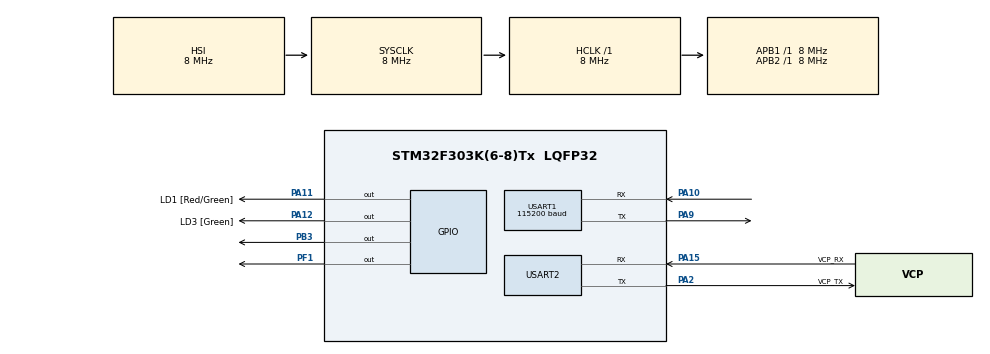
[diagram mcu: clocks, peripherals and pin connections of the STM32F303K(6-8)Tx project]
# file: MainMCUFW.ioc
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Dma.Request0=USART1_RX
Dma.USART1_RX.0.Direction=DMA_PERIPH_TO_MEMORY
Dma.USART1_RX.0.Instance=DMA1_Channel5
Dma.USART1_RX.0.MemDataAlignment=DMA_MDATAALIGN_BYTE
Dma.USART1_RX.0.MemInc=DMA_MINC_ENABLE
Dma.USART1_RX.0.Mode=DMA_CIRCULAR
Dma.USART1_RX.0.PeriphDataAlignment=DMA_PDATAALIGN_BYTE
Dma.USART1_RX.0.PeriphInc=DMA_PINC_DISABLE
Dma.USART1_RX.0.Priority=DMA_PRIORITY_LOW
FREERTOS.Tasks01=defaultTask,0,128,StartDefaultTask,Default,NULL,Dynamic,NULL,NULL
FREERTOS.configTOTAL_HEAP_SIZE=8000
Mcu.Family=STM32F3
Mcu.Name=STM32F303K(6-8)Tx
Mcu.Package=LQFP32
NVIC.DMA1_Channel5_IRQn=true\:5\:0\:false\:false\:true\:true\:false
NVIC.PriorityGroup=NVIC_PRIORITYGROUP_4
NVIC.TIM6_DAC1_IRQn=true\:0\:0\:false\:false\:true\:false\:false
NVIC.TimeBase=TIM6_DAC1_IRQn
NVIC.TimeBaseIP=TIM6
NVIC.USART1_IRQn=true\:5\:0\:false\:false\:true\:true\:true
PA10.Mode=Asynchronous
PA10.Signal=USART1_RX
PA11.GPIO_Label=LD1 [Red/Green]
PA11.Signal=GPIO_Output
PA12.GPIO_Label=LD3 [Green]
PA12.Signal=GPIO_Output
PA13.GPIO_Label=SWDIO
PA13.Mode=Serial_Wire
PA13.Signal=SYS_JTMS-SWDIO
PA14.GPIO_Label=SWCLK
PA14.Mode=Serial_Wire
PA14.Signal=SYS_JTCK-SWCLK
PA15.GPIO_Label=VCP_RX
PA15.Mode=Asynchronous
PA15.Signal=USART2_RX
PA2.GPIO_Label=VCP_TX
PA2.Mode=Asynchronous
PA2.Signal=USART2_TX
PA9.Mode=Asynchronous
PA9.Signal=USART1_TX
PB3.Signal=GPIO_Output
PF0\ /\ OSC_IN.GPIO_Label=MCO
PF0\ /\ OSC_IN.Mode=HSE-External-Clock-Source
PF0\ /\ OSC_IN.Signal=RCC_OSC_IN
PF1\ /\ OSC_OUT.Signal=GPIO_Output
ProjectManager.HeapSize=0x0200
ProjectManager.StackSize=0x0400
ProjectManager.TargetToolchain=Makefile
RCC.AHBFreq_Value=8000000
RCC.APB1Freq_Value=8000000
RCC.APB2Freq_Value=8000000
RCC.CortexFreq_Value=8000000
RCC.HSE_VALUE=8000000
RCC.HSI_VALUE=8000000
RCC.SYSCLKFreq_VALUE=8000000
USART1.BaudRate=115200
USART1.VirtualMode-Asynchronous=VM_ASYNC
USART2.VirtualMode-Asynchronous=VM_ASYNC
VP_FREERTOS_VS_ENABLE.Mode=Enabled
VP_SYS_VS_tim6.Mode=TIM6
board=NUCLEO-F303K8

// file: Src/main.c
/**
  ******************************************************************************
  * @file           : main.c
  * @brief          : Main program body
  ******************************************************************************
  * This notice applies to any and all portions of this file
  * that are not between comment pairs USER CODE BEGIN and
  * USER CODE END. Other portions of this file, whether
  * inserted by the user or by software development tools
  * are owned by their respective copyright owners.
  *
  * Copyright (c) 2019 STMicroelectronics International N.V.
  * All rights reserved.
  *
  * Redistribution and use in source and binary forms, with or without
  * modification, are permitted, provided that the following conditions are met:
  *
  * 1. Redistribution of source code must retain the above copyright notice,
  *    this list of conditions and the following disclaimer.
  * 2. Redistributions in binary form must reproduce the above copyright notice,
  *    this list of conditions and the following disclaimer in the documentation
  *    and/or other materials provided with the distribution.
  * 3. Neither the name of STMicroelectronics nor the names of other
  *    contributors to this software may be used to endorse or promote products
  *    derived from this software without specific written permission.
  * 4. This software, including modifications and/or derivative works of this
  *    software, must execute solely and exclusively on microcontroller or
  *    microprocessor devices manufactured by or for STMicroelectronics.
  * 5. Redistribution and use of this software other than as permitted under
  *    this license is void and will automatically terminate your rights under
  *    this license.
  *
  * THIS SOFTWARE IS PROVIDED BY STMICROELECTRONICS AND CONTRIBUTORS "AS IS"
  * AND ANY EXPRESS, IMPLIED OR STATUTORY WARRANTIES, INCLUDING, BUT NOT
  * LIMITED TO, THE IMPLIED WARRANTIES OF MERCHANTABILITY, FITNESS FOR A
  * PARTICULAR PURPOSE AND NON-INFRINGEMENT OF THIRD PARTY INTELLECTUAL PROPERTY
  * RIGHTS ARE DISCLAIMED TO THE FULLEST EXTENT PERMITTED BY LAW. IN NO EVENT
  * SHALL STMICROELECTRONICS OR CONTRIBUTORS BE LIABLE FOR ANY DIRECT, INDIRECT,
  * INCIDENTAL, SPECIAL, EXEMPLARY, OR CONSEQUENTIAL DAMAGES (INCLUDING, BUT NOT
  * LIMITED TO, PROCUREMENT OF SUBSTITUTE GOODS OR SERVICES; LOSS OF USE, DATA,
  * OR PROFITS; OR BUSINESS INTERRUPTION) HOWEVER CAUSED AND ON ANY THEORY OF
  * LIABILITY, WHETHER IN CONTRACT, STRICT LIABILITY, OR TORT (INCLUDING
  * NEGLIGENCE OR OTHERWISE) ARISING IN ANY WAY OUT OF THE USE OF THIS SOFTWARE,
  * EVEN IF ADVISED OF THE POSSIBILITY OF SUCH DAMAGE.
  *
  ******************************************************************************
  */
#include "main.h"
#include "stm32f3xx_hal.h"
#include "cmsis_os.h"
#include "dma.h"
#include "usart.h"
#include "gpio.h"

/* USER CODE BEGIN Includes */
#include "Printf4Debug.h"
#include "APP_GPIO.h"
#include "APP_UART.h"
#include "CommandAnalyzer.h"
/* USER CODE END Includes */

/* USER CODE BEGIN PV */
/* Private variables ---------------------------------------------------------*/

/* USER CODE END PV */

void SystemClock_Config(void);
void MX_FREERTOS_Init(void);

/* USER CODE BEGIN PFP */
/* Private function prototypes -----------------------------------------------*/
void StartUartCommunicationTask();
/* USER CODE END PFP */

int main(void)
{

  /* MCU Configuration----------------------------------------------------------*/

  /* Reset of all peripherals, Initializes the Flash interface and the Systick. */
  HAL_Init();

  /* Configure the system clock */
  SystemClock_Config();

  /* Initialize all configured peripherals */
  MX_GPIO_Init();
  MX_DMA_Init();
  MX_USART2_UART_Init();
  MX_USART1_UART_Init();
  /* USER CODE BEGIN 2 */
  PrintfInit();
  APP_GPIO_Init();
  UARTInit();

  CommandAnalyzer_Init();

  /*
  osThreadId UARTReceiveTaskHandle;

  osThreadDef(UARTReceiveTask, StartUartCommunicationTask, osPriorityNormal, 0, 128);
  UARTReceiveTaskHandle = osThreadCreate(osThread(UARTReceiveTask), NULL);
  */

  /* USER CODE END 2 */

  /* Call init function for freertos objects (in freertos.c) */
  MX_FREERTOS_Init();

  /* Start scheduler */
  osKernelStart();

  /* We should never get here as control is now taken by the scheduler */

  /* Infinite loop */
  while (1)
  {

  }

}

void SystemClock_Config(void)
{

  RCC_OscInitTypeDef RCC_OscInitStruct;
  RCC_ClkInitTypeDef RCC_ClkInitStruct;
  RCC_PeriphCLKInitTypeDef PeriphClkInit;

    /**Initializes the CPU, AHB and APB busses clocks
    */
  RCC_OscInitStruct.OscillatorType = RCC_OSCILLATORTYPE_HSI;
  RCC_OscInitStruct.HSIState = RCC_HSI_ON;
  RCC_OscInitStruct.HSICalibrationValue = 16;
  RCC_OscInitStruct.PLL.PLLState = RCC_PLL_NONE;
  if (HAL_RCC_OscConfig(&RCC_OscInitStruct) != HAL_OK)
  {
    _Error_Handler(__FILE__, __LINE__);
  }

    /**Initializes the CPU, AHB and APB busses clocks
    */
  RCC_ClkInitStruct.ClockType = RCC_CLOCKTYPE_HCLK|RCC_CLOCKTYPE_SYSCLK
                              |RCC_CLOCKTYPE_PCLK1|RCC_CLOCKTYPE_PCLK2;
  RCC_ClkInitStruct.SYSCLKSource = RCC_SYSCLKSOURCE_HSI;
  RCC_ClkInitStruct.AHBCLKDivider = RCC_SYSCLK_DIV1;
  RCC_ClkInitStruct.APB1CLKDivider = RCC_HCLK_DIV1;
  RCC_ClkInitStruct.APB2CLKDivider = RCC_HCLK_DIV1;

  if (HAL_RCC_ClockConfig(&RCC_ClkInitStruct, FLASH_LATENCY_0) != HAL_OK)
  {
    _Error_Handler(__FILE__, __LINE__);
  }

  PeriphClkInit.PeriphClockSelection = RCC_PERIPHCLK_USART1;
  PeriphClkInit.Usart1ClockSelection = RCC_USART1CLKSOURCE_PCLK1;
  if (HAL_RCCEx_PeriphCLKConfig(&PeriphClkInit) != HAL_OK)
  {
    _Error_Handler(__FILE__, __LINE__);
  }

    /**Configure the Systick interrupt time
    */
  HAL_SYSTICK_Config(HAL_RCC_GetHCLKFreq()/1000);

    /**Configure the Systick
    */
  HAL_SYSTICK_CLKSourceConfig(SYSTICK_CLKSOURCE_HCLK);

  /* SysTick_IRQn interrupt configuration */
  HAL_NVIC_SetPriority(SysTick_IRQn, 15, 0);
}

/* USER CODE BEGIN 4 */
void StartUartCommunicationTask()
{
  //とりあえずここにGPIO入れる
  APP_GPIO_Write(GPIOB, GPIO_PIN_3, GPIO_PIN_SET);

  //UARTスレッドがちゃんと走るの待ち
  while(GetStatus_APP_UART() != APP_UART_RUNNING);

  uint8_t buffer[90];

  static int bufferedPos = 0;

  while(1){
    int receivedByteCount = GetRxQueueCount();

    if(receivedByteCount >= 67){
      UARTGetReceivedData(buffer, 67);
      UARTSendData(buffer, 67);
      Printf4Debug("%d bytes received\r\n", receivedByteCount);
    }

    osDelay(10);
  }
}

/* USER CODE END 4 */

void HAL_TIM_PeriodElapsedCallback(TIM_HandleTypeDef *htim)
{
  if (htim->Instance == TIM6) {
    HAL_IncTick();
  }
}

void _Error_Handler(char *file, int line)
{
  while(1)
  {
  }
}

/************************ (C) COPYRIGHT STMicroelectronics *****END OF FILE****/
